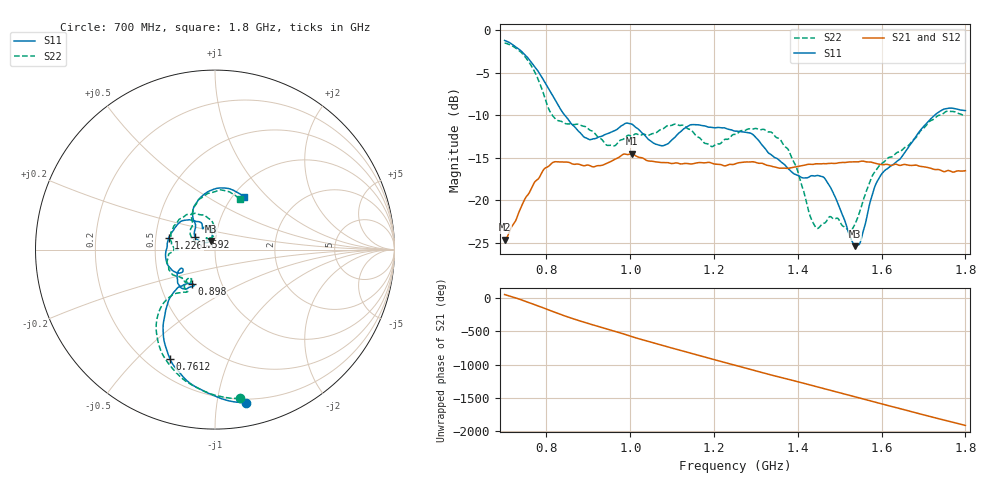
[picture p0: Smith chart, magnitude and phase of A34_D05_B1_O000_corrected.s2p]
! Created with skrf 1.9.0 (http://scikit-rf.org).
# Hz S RI R 50.0
!freq ReS11 ImS11 ReS21 ImS21 ReS12 ImS12 ReS22 ImS22
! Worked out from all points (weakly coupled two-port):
!   1601 points, 700 MHz to 1.8 GHz, reference 50 ohm
!   highest |S21| = -14.53 dB at 1.003 GHz (marker M1); lowest = -24.6 dB at 701.4 MHz (marker M2)
!   lowest |S11| = -25.4 dB at 1.537 GHz (marker M3), VSWR 1.11, Z = 47.5 + j4.6 ohm
!   |S11| at or under -10 dB: 843.6 MHz to 1.727 GHz (882.9 MHz wide, 68.7 % of centre)
!   |S22| runs from -23.7 to -1.5 dB; largest |S21 - S12| = 0.0035
!   S11 on the Smith chart (normalised r, x): 700 MHz: 0.17, -1.20; 761.2 MHz: 0.29, -0.63; 898 MHz: 0.72, -0.29; 1.226 GHz: 0.59, +0.08; 1.592 GHz: 0.79, +0.12; 1.8 GHz: 1.13, +0.75
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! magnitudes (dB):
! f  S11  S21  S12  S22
! 700 MHz  -1.2  -24.6  -24.4  -1.5
! 701.4 MHz  -1.2  -24.6  -24.2  -1.5
! 761.2 MHz  -3.6  -18.9  -18.8  -4.0
! 817.6 MHz  -7.9  -15.5  -15.6  -10.2
! 883.6 MHz  -12.2  -15.9  -15.8  -11.2
! 898 MHz  -12.8  -15.9  -15.9  -11.5
! 947.5 MHz  -12.1  -15.6  -15.6  -13.5
! 1.003 GHz  -11.0  -14.5  -14.7  -12.4
! 1.067 GHz  -13.5  -15.5  -15.5  -11.8
! 1.145 GHz  -11.1  -15.7  -15.7  -11.7
! 1.226 GHz  -11.5  -15.9  -15.9  -12.8
! 1.25 GHz  -11.9  -15.7  -15.7  -12.2
! 1.358 GHz  -15.4  -16.2  -16.2  -12.8
! 1.396 GHz  -17.0  -16.1  -16.0  -16.0
! 1.434 GHz  -17.1  -15.8  -15.7  -22.4
! 1.473 GHz  -18.1  -15.7  -15.7  -22.1
! 1.537 GHz  -25.4  -15.5  -15.5  -22.8
! 1.55 GHz  -24.7  -15.4  -15.4  -21.0
! 1.592 GHz  -17.5  -15.7  -15.7  -16.1
! 1.617 GHz  -16.2  -15.8  -15.8  -15.0
! 1.733 GHz  -9.7  -16.4  -16.4  -10.1
! 1.8 GHz  -9.5  -16.5  -16.5  -10.1
